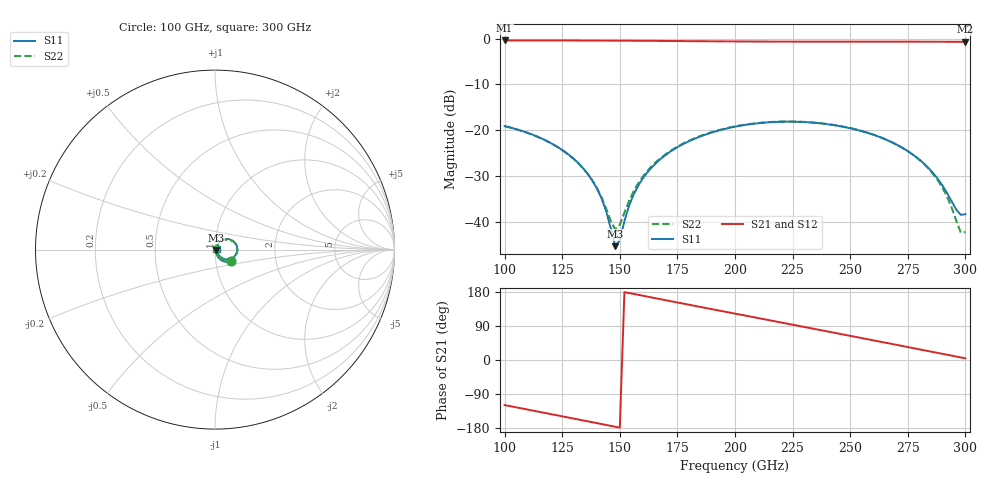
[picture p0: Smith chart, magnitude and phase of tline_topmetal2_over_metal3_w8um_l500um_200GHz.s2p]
#  GHZ S DB R 50
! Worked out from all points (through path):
!   101 points, 100 GHz to 300 GHz, reference 50 ohm
!   highest |S21| = -0.42 dB at 100 GHz (marker M1); lowest = -0.7 dB at 300 GHz (marker M2)
!   group delay of S21, straight-line fit = 3.28 ps
!   lowest |S11| = -45.3 dB at 148 GHz (marker M3), VSWR 1.01, Z = 50.5 - j0.194 ohm
!   |S11| at or under -10 dB: start of sweep to end of sweep
!   |S22| runs from -42.3 to -18.1 dB; largest |S21 - S12| = 1.6e-13
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100  -19.09 -36.2  -0.42 -119.0  -0.42 -119.0  -19.11 -35.5
120  -22.77 -57.1  -0.43 -142.7  -0.43 -142.7  -22.80 -55.5
134  -28.23 -69.2  -0.44 -159.4  -0.44 -159.4  -28.26 -65.4
138  -30.90 -70.9  -0.45 -164.2  -0.45 -164.2  -30.87 -65.4
142  -34.75 -69.4  -0.45 -169.0  -0.45 -169.0  -34.53 -60.6
144  -37.51 -65.2  -0.46 -171.3  -0.46 -171.3  -36.94 -53.4
148  -45.26 -20.6  -0.46 -176.1  -0.46 -176.1  -41.57 -10.2
150  -44.00 29.8  -0.47 -178.5  -0.47 -178.5  -40.60 21.7
154  -36.48 60.4  -0.48 176.7  -0.48 176.7  -35.42 50.6
158  -32.06 64.2  -0.49 172.0  -0.49 172.0  -31.56 57.1
168  -26.13 59.1  -0.52 160.1  -0.52 160.1  -25.93 54.9
182  -21.94 46.1  -0.58 143.5  -0.58 143.5  -21.84 43.0
200  -19.22 27.1  -0.63 122.4  -0.63 122.4  -19.15 24.5
218  -18.18 7.3  -0.67 101.3  -0.67 101.3  -18.13 4.8
234  -18.35 -10.3  -0.68 82.6  -0.68 82.6  -18.30 -12.9
250  -19.56 -27.3  -0.68 63.8  -0.68 63.8  -19.52 -30.3
268  -22.59 -44.9  -0.69 42.4  -0.69 42.4  -22.58 -49.1
278  -25.59 -52.4  -0.69 30.6  -0.69 30.6  -25.63 -58.1
286  -29.33 -54.3  -0.70 21.0  -0.70 21.0  -29.54 -62.6
292  -33.65 -46.7  -0.70 13.9  -0.70 13.9  -34.42 -59.5
298  -38.45 -7.7  -0.71 6.7  -0.71 6.7  -42.31 -17.0
300  -38.29 14.1  -0.72 4.4  -0.72 4.4  -42.20 19.0
